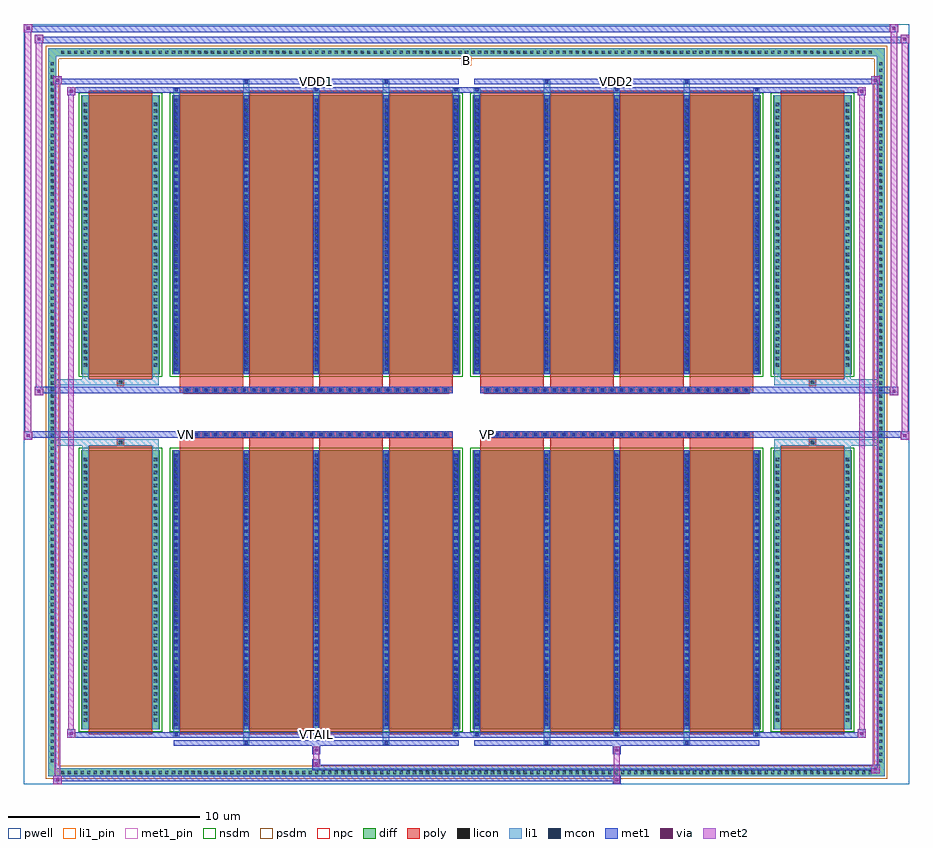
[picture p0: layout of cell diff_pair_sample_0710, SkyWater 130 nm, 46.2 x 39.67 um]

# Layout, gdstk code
import gdstk
lib = gdstk.Library(unit=1e-6, precision=5e-09)
def R(c, l, rs):  # rectangles x0, y0, x1, y1
    for r in rs: c.add(gdstk.rectangle(r[:2], r[2:], *l))
def A(c, l, x, y, w, h, nx, ny, dx, dy):  # array of equal rectangles
    R(c, l, [(x+i*dx, y+j*dy, x+i*dx+w, y+j*dy+h) for i in range(nx) for j in range(ny)])
def P(c, l, *ps):  # polygons
    for p in ps: c.add(gdstk.Polygon(p, *l))
pwell = (64, 44)
diff = (65, 20)
poly = (66, 20)
licon = (66, 44)
li1_pin = (67, 16)
li1 = (67, 20)
mcon = (67, 44)
met1_pin = (68, 16)
met1 = (68, 20)
via = (68, 44)
met2 = (69, 20)
nsdm = (93, 44)
psdm = (94, 20)
npc = (95, 20)

diff_pair_sample_0710 = lib.new_cell('diff_pair_sample_0710')
R(diff_pair_sample_0710, pwell, [(-23.1,-19.4,23.1,20.27), (-20.42,-17.59,-0.01,-0.795), (0.01,-17.59,20.42,-0.795), (-20.42,0.795,-0.01,17.59), (0.01,0.795,20.42,17.59)])
A(diff_pair_sample_0710, diff, -21.285, -19, 0.41, 0.41, 125, 2, 0.34, 37.59)
A(diff_pair_sample_0710, diff, -21.83, -18.395, 0.41, 0.41, 1, 108, 0, 0.34)
A(diff_pair_sample_0710, diff, 21.42, -18.395, 0.41, 0.41, 1, 108, 0, 0.34)
R(diff_pair_sample_0710, diff, [(-21.285,-19,21.285,-18.59), (-21.83,-18.395,-21.42,18.395), (21.42,-18.395,21.83,18.395), (-20.11,-16.545,-16.01,-1.985), (-15.37,-16.545,-0.32,-1.985), (0.32,-16.545,15.37,-1.985), (16.01,-16.545,20.11,-1.985), (-20.11,1.985,-16.01,16.545), (-15.37,1.985,-0.32,16.545), (0.32,1.985,15.37,16.545), (16.01,1.985,20.11,16.545), (-21.285,18.59,21.285,19)])
P(diff_pair_sample_0710, diff, [(21.83,19),(-21.83,19),(-21.83,-18.59),(-21.42,-18.59),(-21.42,18.59),(21.42,18.59),(21.42,-18.59),(-21.42,-18.59),(-21.83,-18.59),(-21.83,-19),(21.83,-19)])
A(diff_pair_sample_0710, poly, -14.98, -16.795, 3.32, 15.06, 4, 2, 3.65, 18.53)
A(diff_pair_sample_0710, poly, 0.71, -16.795, 3.32, 15.06, 4, 2, 3.65, 18.53)
A(diff_pair_sample_0710, poly, -14.98, -1.735, 3.32, 0.41, 4, 2, 3.65, 3.06)
A(diff_pair_sample_0710, poly, 0.71, -1.735, 3.32, 0.41, 4, 2, 3.65, 3.06)
A(diff_pair_sample_0710, poly, -14.76, -1.325, 0.33, 0.33, 28, 2, 0.5, 2.32)
A(diff_pair_sample_0710, poly, 0.93, -1.325, 0.33, 0.33, 28, 2, 0.5, 2.32)
R(diff_pair_sample_0710, poly, [(-19.72,-16.795,-16.4,-1.735), (16.4,-16.795,19.72,-1.735), (-18.225,-1.735,-17.895,-1.405), (-18.225,-1.735,-17.895,-1.405), (17.895,-1.735,18.225,-1.405), (17.895,-1.735,18.225,-1.405), (-14.98,-1.325,-0.71,-0.995), (0.71,-1.325,14.98,-0.995), (-14.98,0.995,-0.71,1.325), (0.71,0.995,14.98,1.325), (-18.225,1.405,-17.895,1.735), (-18.225,1.405,-17.895,1.735), (17.895,1.405,18.225,1.735), (17.895,1.405,18.225,1.735), (-19.72,1.735,-16.4,16.795), (16.4,1.735,19.72,16.795)])
A(diff_pair_sample_0710, licon, -21.165, -18.88, 0.17, 0.17, 125, 2, 0.34, 37.59)
A(diff_pair_sample_0710, licon, -21.71, -18.275, 0.17, 0.17, 1, 108, 0, 0.34)
A(diff_pair_sample_0710, licon, 21.54, -18.275, 0.17, 0.17, 1, 108, 0, 0.34)
A(diff_pair_sample_0710, licon, -19.97, -16.15, 0.17, 0.17, 1, 41, 0, 0.34)
A(diff_pair_sample_0710, licon, -16.32, -16.15, 0.17, 0.17, 1, 41, 0, 0.34)
A(diff_pair_sample_0710, licon, -15.23, -16.15, 0.17, 0.17, 5, 41, 3.65, 0.34)
A(diff_pair_sample_0710, licon, 0.46, -16.15, 0.17, 0.17, 5, 41, 3.65, 0.34)
A(diff_pair_sample_0710, licon, 16.15, -16.15, 0.17, 0.17, 1, 41, 0, 0.34)
A(diff_pair_sample_0710, licon, 19.8, -16.15, 0.17, 0.17, 1, 41, 0, 0.34)
A(diff_pair_sample_0710, licon, -14.68, -1.245, 0.17, 0.17, 28, 2, 0.5, 2.32)
A(diff_pair_sample_0710, licon, 1.01, -1.245, 0.17, 0.17, 28, 2, 0.5, 2.32)
A(diff_pair_sample_0710, licon, -19.97, 2.38, 0.17, 0.17, 1, 41, 0, 0.34)
A(diff_pair_sample_0710, licon, -16.32, 2.38, 0.17, 0.17, 1, 41, 0, 0.34)
A(diff_pair_sample_0710, licon, -15.23, 2.38, 0.17, 0.17, 5, 41, 3.65, 0.34)
A(diff_pair_sample_0710, licon, 0.46, 2.38, 0.17, 0.17, 5, 41, 3.65, 0.34)
A(diff_pair_sample_0710, licon, 16.15, 2.38, 0.17, 0.17, 1, 41, 0, 0.34)
A(diff_pair_sample_0710, licon, 19.8, 2.38, 0.17, 0.17, 1, 41, 0, 0.34)
R(diff_pair_sample_0710, licon, [(-18.145,-1.655,-17.975,-1.485), (17.975,-1.655,18.145,-1.485), (-18.145,1.485,-17.975,1.655), (17.975,1.485,18.145,1.655)])
R(diff_pair_sample_0710, li1_pin, [(-0.25,18.09,0.25,18.59)])
A(diff_pair_sample_0710, li1, -21.245, -18.96, 0.33, 0.33, 125, 2, 0.34, 37.59)
A(diff_pair_sample_0710, li1, -21.79, -18.355, 0.33, 0.33, 1, 108, 0, 0.34)
A(diff_pair_sample_0710, li1, 21.46, -18.355, 0.33, 0.33, 1, 108, 0, 0.34)
A(diff_pair_sample_0710, li1, -15.31, -16.92, 0.33, 0.375, 3, 2, 7.3, 33.465)
A(diff_pair_sample_0710, li1, -15.23, -16.92, 0.17, 0.17, 3, 2, 7.3, 33.67)
A(diff_pair_sample_0710, li1, 0.38, -16.92, 0.33, 0.375, 3, 2, 7.3, 33.465)
A(diff_pair_sample_0710, li1, 0.46, -16.92, 0.17, 0.17, 3, 2, 7.3, 33.67)
A(diff_pair_sample_0710, li1, -15.31, -16.545, 0.33, 14.56, 5, 2, 3.65, 18.53)
A(diff_pair_sample_0710, li1, 0.38, -16.545, 0.33, 14.56, 5, 2, 3.65, 18.53)
A(diff_pair_sample_0710, li1, -15.23, -16.37, 0.17, 0.17, 5, 40, 3.65, 0.36)
A(diff_pair_sample_0710, li1, -15.23, -16.37, 0.17, 14.21, 5, 2, 3.65, 18.53)
A(diff_pair_sample_0710, li1, 0.46, -16.37, 0.17, 0.17, 5, 40, 3.65, 0.36)
A(diff_pair_sample_0710, li1, 0.46, -16.37, 0.17, 14.21, 5, 2, 3.65, 18.53)
A(diff_pair_sample_0710, li1, -20.05, -16.23, 0.33, 0.33, 1, 41, 0, 0.34)
A(diff_pair_sample_0710, li1, -16.4, -16.23, 0.33, 0.33, 1, 41, 0, 0.34)
A(diff_pair_sample_0710, li1, -15.31, -16.23, 0.33, 0.33, 5, 41, 3.65, 0.34)
A(diff_pair_sample_0710, li1, 0.38, -16.23, 0.33, 0.33, 5, 41, 3.65, 0.34)
A(diff_pair_sample_0710, li1, 16.07, -16.23, 0.33, 0.33, 1, 41, 0, 0.34)
A(diff_pair_sample_0710, li1, 19.72, -16.23, 0.33, 0.33, 1, 41, 0, 0.34)
A(diff_pair_sample_0710, li1, -14.76, -1.325, 0.33, 0.33, 28, 2, 0.5, 2.32)
A(diff_pair_sample_0710, li1, 0.93, -1.325, 0.33, 0.33, 28, 2, 0.5, 2.32)
A(diff_pair_sample_0710, li1, -15.23, 2.16, 0.17, 0.17, 5, 40, 3.65, 0.36)
A(diff_pair_sample_0710, li1, 0.46, 2.16, 0.17, 0.17, 5, 40, 3.65, 0.36)
A(diff_pair_sample_0710, li1, -20.05, 2.3, 0.33, 0.33, 1, 41, 0, 0.34)
A(diff_pair_sample_0710, li1, -16.4, 2.3, 0.33, 0.33, 1, 41, 0, 0.34)
A(diff_pair_sample_0710, li1, -15.31, 2.3, 0.33, 0.33, 5, 41, 3.65, 0.34)
A(diff_pair_sample_0710, li1, 0.38, 2.3, 0.33, 0.33, 5, 41, 3.65, 0.34)
A(diff_pair_sample_0710, li1, 16.07, 2.3, 0.33, 0.33, 1, 41, 0, 0.34)
A(diff_pair_sample_0710, li1, 19.72, 2.3, 0.33, 0.33, 1, 41, 0, 0.34)
R(diff_pair_sample_0710, li1, [(-21.83,-19,-21.42,-18.59), (-21.83,-19,-21.42,-18.59), (-21.42,-19,21.42,-18.59), (21.42,-19,21.83,-18.59), (21.42,-19,21.83,-18.59), (-21.83,-18.59,-21.42,18.59), (21.42,-18.59,21.83,18.59), (-11.66,-17.35,-11.33,-16.545), (-11.58,-17.35,-11.41,-17.18), (-4.36,-17.35,-4.03,-16.545), (-4.28,-17.35,-4.11,-17.18), (4.03,-17.35,4.36,-16.545), (4.11,-17.35,4.28,-17.18), (11.33,-17.35,11.66,-16.545), (11.41,-17.35,11.58,-17.18), (-20.05,-16.545,-19.72,-1.985), (-16.4,-16.545,-16.07,-1.985), (16.07,-16.545,16.4,-1.985), (19.72,-16.545,20.05,-1.985), (-20.05,-1.985,-19.72,-1.405), (-16.4,-1.985,-16.07,-1.405), (16.07,-1.985,16.4,-1.405), (19.72,-1.985,20.05,-1.405), (-21.83,-1.735,-18.225,-1.405), (-20.05,-1.735,-18.225,-1.405), (-18.225,-1.735,-17.895,-1.405), (-17.895,-1.735,-16.07,-1.405), (16.07,-1.735,17.895,-1.405), (17.895,-1.735,18.225,-1.405), (17.895,-1.735,21.83,-1.405), (18.225,-1.735,20.05,-1.405), (-21.83,1.405,-18.225,1.735), (-20.05,1.405,-18.225,1.735), (-20.05,1.405,-19.72,1.985), (-18.225,1.405,-17.895,1.735), (-17.895,1.405,-16.07,1.735), (-16.4,1.405,-16.07,1.985), (16.07,1.405,17.895,1.735), (16.07,1.405,16.4,1.985), (17.895,1.405,18.225,1.735), (17.895,1.405,21.83,1.735), (18.225,1.405,20.05,1.735), (19.72,1.405,20.05,1.985), (-20.05,1.985,-19.72,16.545), (-16.4,1.985,-16.07,16.545), (16.07,1.985,16.4,16.545), (19.72,1.985,20.05,16.545), (-11.66,16.545,-11.33,17.35), (-4.36,16.545,-4.03,17.35), (4.03,16.545,4.36,17.35), (11.33,16.545,11.66,17.35), (-11.58,17.18,-11.41,17.35), (-4.28,17.18,-4.11,17.35), (4.11,17.18,4.28,17.35), (11.41,17.18,11.58,17.35), (-21.83,18.59,-21.42,19), (-21.83,18.59,-21.42,19), (-21.42,18.59,21.42,19), (21.42,18.59,21.83,19), (21.42,18.59,21.83,19)])
A(diff_pair_sample_0710, mcon, -15.23, -16.92, 0.17, 0.17, 3, 2, 7.3, 33.67)
A(diff_pair_sample_0710, mcon, 0.46, -16.92, 0.17, 0.17, 3, 2, 7.3, 33.67)
A(diff_pair_sample_0710, mcon, -15.23, -16.37, 0.17, 0.17, 5, 40, 3.65, 0.36)
A(diff_pair_sample_0710, mcon, 0.46, -16.37, 0.17, 0.17, 5, 40, 3.65, 0.36)
A(diff_pair_sample_0710, mcon, -14.68, -1.245, 0.17, 0.17, 28, 2, 0.5, 2.32)
A(diff_pair_sample_0710, mcon, 1.01, -1.245, 0.17, 0.17, 28, 2, 0.5, 2.32)
A(diff_pair_sample_0710, mcon, -15.23, 2.16, 0.17, 0.17, 5, 40, 3.65, 0.36)
A(diff_pair_sample_0710, mcon, 0.46, 2.16, 0.17, 0.17, 5, 40, 3.65, 0.36)
R(diff_pair_sample_0710, mcon, [(-11.58,-17.35,-11.41,-17.18), (-4.28,-17.35,-4.11,-17.18), (4.11,-17.35,4.28,-17.18), (11.41,-17.35,11.58,-17.18), (-11.58,17.18,-11.41,17.35), (-4.28,17.18,-4.11,17.35), (4.11,17.18,4.28,17.35), (11.41,17.18,11.58,17.35)])
R(diff_pair_sample_0710, met1_pin, [(-7.98,-16.96,-7.71,-16.69), (-14.73,-1.285,-14.46,-1.015), (0.96,-1.285,1.23,-1.015), (-7.98,17.14,-7.71,17.41), (7.71,17.14,7.98,17.41)])
A(diff_pair_sample_0710, met1, -15.29, -16.98, 0.29, 0.29, 3, 2, 7.3, 33.67)
A(diff_pair_sample_0710, met1, 0.4, -16.98, 0.29, 0.29, 3, 2, 7.3, 33.67)
A(diff_pair_sample_0710, met1, -15.29, -16.545, 0.29, 14.56, 5, 2, 3.65, 18.53)
A(diff_pair_sample_0710, met1, 0.4, -16.545, 0.29, 14.56, 5, 2, 3.65, 18.53)
A(diff_pair_sample_0710, met1, -15.29, -16.43, 0.29, 0.29, 5, 40, 3.65, 0.36)
A(diff_pair_sample_0710, met1, 0.4, -16.43, 0.29, 0.29, 5, 40, 3.65, 0.36)
A(diff_pair_sample_0710, met1, -14.74, -1.305, 0.29, 0.29, 28, 2, 0.5, 2.32)
A(diff_pair_sample_0710, met1, 0.95, -1.305, 0.29, 0.29, 28, 2, 0.5, 2.32)
A(diff_pair_sample_0710, met1, -15.29, 2.1, 0.29, 0.29, 5, 40, 3.65, 0.36)
A(diff_pair_sample_0710, met1, 0.4, 2.1, 0.29, 0.29, 5, 40, 3.65, 0.36)
R(diff_pair_sample_0710, met1, [(-21.56,-19.4,-21.13,-18.97), (7.63,-19.4,8.06,-18.97), (-21.56,-19.26,8.06,-18.97), (21.13,-18.83,21.56,-18.4), (-8.06,-18.69,21.56,-18.4), (-8.06,-18.55,-7.63,-18.12), (-8.06,-17.84,-7.63,-17.41), (7.63,-17.84,8.06,-17.41), (-15.29,-17.41,-0.4,-17.12), (-11.64,-17.41,-11.35,-17.12), (-4.34,-17.41,-4.05,-17.12), (0.4,-17.41,15.29,-17.12), (4.05,-17.41,4.34,-17.12), (11.35,-17.41,11.64,-17.12), (-20.85,-16.98,-20.42,-16.55), (-20.85,-16.98,-15.29,-16.69), (-15.29,-16.98,-0.4,-16.69), (-0.4,-16.98,0.4,-16.69), (0.4,-16.98,15.29,-16.69), (15.29,-16.98,20.85,-16.69), (20.42,-16.98,20.85,-16.55), (-23.1,-1.425,-22.67,-0.995), (22.67,-1.425,23.1,-0.995), (-23.1,-1.325,-0.71,-0.995), (-14.98,-1.325,-0.71,-0.995), (0.71,-1.325,14.98,-0.995), (0.71,-1.325,23.1,-0.995), (-22.53,0.895,-22.1,1.325), (22.1,0.895,22.53,1.325), (-22.53,0.995,-14.98,1.325), (-14.98,0.995,-0.71,1.325), (0.71,0.995,14.98,1.325), (14.98,0.995,22.53,1.325), (-20.85,16.55,-20.42,16.98), (20.42,16.55,20.85,16.98), (-20.85,16.69,-15.29,16.98), (-15.29,16.69,-0.4,16.98), (-0.4,16.69,0.4,16.98), (0.4,16.69,15.29,16.98), (15.29,16.69,20.85,16.98), (-21.56,17.12,-21.13,17.55), (-21.56,17.12,-15.29,17.41), (-15.29,17.12,-0.4,17.41), (-11.64,17.12,-11.35,17.41), (-4.34,17.12,-4.05,17.41), (0.4,17.12,15.29,17.41), (4.05,17.12,4.34,17.41), (11.35,17.12,11.64,17.41), (15.29,17.12,21.56,17.41), (21.13,17.12,21.56,17.55), (-22.53,19.27,-22.1,19.7), (-22.53,19.27,-20.42,19.6), (-20.42,19.27,20.42,19.6), (20.42,19.27,23.1,19.6), (22.67,19.27,23.1,19.7), (-23.1,19.84,-22.67,20.27), (-23.1,19.84,-20.42,20.17), (-20.42,19.84,20.42,20.17), (20.42,19.84,22.53,20.17), (22.1,19.84,22.53,20.27)])
R(diff_pair_sample_0710, via, [(-21.42,-19.26,-21.27,-19.11), (7.77,-19.26,7.92,-19.11), (21.27,-18.69,21.42,-18.54), (-7.92,-18.41,-7.77,-18.26), (-7.92,-17.7,-7.77,-17.55), (7.77,-17.7,7.92,-17.55), (-20.71,-16.84,-20.56,-16.69), (20.56,-16.84,20.71,-16.69), (-22.96,-1.285,-22.81,-1.135), (22.81,-1.285,22.96,-1.135), (-22.39,1.035,-22.24,1.185), (22.24,1.035,22.39,1.185), (-20.71,16.69,-20.56,16.84), (20.56,16.69,20.71,16.84), (-21.42,17.26,-21.27,17.41), (21.27,17.26,21.42,17.41), (-22.39,19.41,-22.24,19.56), (22.81,19.41,22.96,19.56), (-22.96,19.98,-22.81,20.13), (22.24,19.98,22.39,20.13)])
R(diff_pair_sample_0710, met2, [(-21.56,-19.4,-21.13,-18.97), (-21.49,-19.4,-21.2,17.55), (-21.2,-19.4,-21.13,-18.97), (-21.51,-19.35,-21.18,-19.02), (7.68,-19.35,8.01,-19.02), (7.68,-19.02,8.01,-17.79), (21.13,-18.83,21.56,-18.4), (21.2,-18.83,21.49,17.55), (21.49,-18.83,21.56,-18.4), (21.18,-18.78,21.51,-18.45), (-8.01,-18.5,-7.68,-18.17), (-8.01,-18.17,-7.68,-17.79), (-8.01,-17.79,-7.68,-17.46), (7.68,-17.79,8.01,-17.46), (-20.85,-16.98,-20.42,-16.55), (-20.78,-16.98,-20.49,16.98), (-20.49,-16.98,-20.42,-16.55), (20.42,-16.98,20.85,-16.55), (20.49,-16.98,20.78,16.98), (20.78,-16.98,20.85,-16.55), (-20.8,-16.93,-20.47,-16.6), (20.47,-16.93,20.8,-16.6), (-23.1,-1.425,-22.67,-0.995), (-23.05,-1.425,-22.72,20.27), (-22.72,-1.425,-22.67,-0.995), (22.67,-1.425,23.1,-0.995), (22.72,-1.425,23.05,19.7), (23.05,-1.425,23.1,-0.995), (-23.05,-1.375,-22.72,-1.045), (22.72,-1.375,23.05,-1.045), (-22.53,0.895,-22.1,1.325), (-22.48,0.895,-22.15,19.7), (-22.15,0.895,-22.1,1.325), (22.1,0.895,22.53,1.325), (22.15,0.895,22.48,20.27), (22.48,0.895,22.53,1.325), (-22.48,0.945,-22.15,1.275), (22.15,0.945,22.48,1.275), (-20.85,16.55,-20.42,16.98), (-20.49,16.55,-20.42,16.98), (20.42,16.55,20.85,16.98), (20.78,16.55,20.85,16.98), (-20.8,16.6,-20.47,16.93), (20.47,16.6,20.8,16.93), (-21.56,17.12,-21.13,17.55), (-21.2,17.12,-21.13,17.55), (21.13,17.12,21.56,17.55), (21.49,17.12,21.56,17.55), (-21.51,17.17,-21.18,17.5), (21.18,17.17,21.51,17.5), (-22.53,19.27,-22.1,19.7), (-22.15,19.27,-22.1,19.7), (22.67,19.27,23.1,19.7), (23.05,19.27,23.1,19.7), (-22.48,19.32,-22.15,19.65), (22.72,19.32,23.05,19.65), (-23.1,19.84,-22.67,20.27), (-22.72,19.84,-22.67,20.27), (22.1,19.84,22.53,20.27), (22.48,19.84,22.53,20.27), (-23.05,19.89,-22.72,20.22), (22.15,19.89,22.48,20.22)])
R(diff_pair_sample_0710, nsdm, [(-20.24,-16.675,-15.88,-1.855), (-15.5,-16.675,-0.19,-1.855), (0.19,-16.675,15.5,-1.855), (15.88,-16.675,20.24,-1.855), (-20.24,1.855,-15.88,16.675), (-15.5,1.855,-0.19,16.675), (0.19,1.855,15.5,16.675), (15.88,1.855,20.24,16.675)])
P(diff_pair_sample_0710, psdm, [(21.96,19.13),(-21.96,19.13),(-21.96,-18.46),(-21.29,-18.46),(-21.29,18.46),(21.29,18.46),(21.29,-18.46),(-21.29,-18.46),(-21.96,-18.46),(-21.96,-19.13),(21.96,-19.13)])
A(diff_pair_sample_0710, npc, -14.78, -1.345, 0.37, 0.37, 28, 2, 0.5, 2.32)
A(diff_pair_sample_0710, npc, 0.91, -1.345, 0.37, 0.37, 28, 2, 0.5, 2.32)
R(diff_pair_sample_0710, npc, [(-18.245,-1.755,-17.875,-1.385), (17.875,-1.755,18.245,-1.385), (-14.78,-1.345,-13.91,-0.975), (-14.78,-1.345,-13.91,-0.975), (-14.28,-1.345,-13.41,-0.975), (-14.28,-1.345,-13.41,-0.975), (-13.78,-1.345,-12.91,-0.975), (-13.78,-1.345,-12.91,-0.975), (-13.28,-1.345,-12.41,-0.975), (-13.28,-1.345,-12.41,-0.975), (-12.78,-1.345,-11.91,-0.975), (-12.78,-1.345,-11.91,-0.975), (-12.28,-1.345,-11.41,-0.975), (-12.28,-1.345,-11.41,-0.975), (-11.78,-1.345,-10.91,-0.975), (-11.78,-1.345,-10.91,-0.975), (-11.28,-1.345,-10.41,-0.975), (-11.28,-1.345,-10.41,-0.975), (-10.78,-1.345,-9.91,-0.975), (-10.78,-1.345,-9.91,-0.975), (-10.28,-1.345,-9.41,-0.975), (-10.28,-1.345,-9.41,-0.975), (-9.78,-1.345,-8.91,-0.975), (-9.78,-1.345,-8.91,-0.975), (-9.28,-1.345,-8.41,-0.975), (-9.28,-1.345,-8.41,-0.975), (-8.78,-1.345,-7.91,-0.975), (-8.78,-1.345,-7.91,-0.975), (-8.28,-1.345,-7.41,-0.975), (-8.28,-1.345,-7.41,-0.975), (-7.78,-1.345,-6.91,-0.975), (-7.78,-1.345,-6.91,-0.975), (-7.28,-1.345,-6.41,-0.975), (-7.28,-1.345,-6.41,-0.975), (-6.78,-1.345,-5.91,-0.975), (-6.78,-1.345,-5.91,-0.975), (-6.28,-1.345,-5.41,-0.975), (-6.28,-1.345,-5.41,-0.975), (-5.78,-1.345,-4.91,-0.975), (-5.78,-1.345,-4.91,-0.975), (-5.28,-1.345,-4.41,-0.975), (-5.28,-1.345,-4.41,-0.975), (-4.78,-1.345,-3.91,-0.975), (-4.78,-1.345,-3.91,-0.975), (-4.28,-1.345,-3.41,-0.975), (-4.28,-1.345,-3.41,-0.975), (-3.78,-1.345,-2.91,-0.975), (-3.78,-1.345,-2.91,-0.975), (-3.28,-1.345,-2.41,-0.975), (-3.28,-1.345,-2.41,-0.975), (-2.78,-1.345,-1.91,-0.975), (-2.78,-1.345,-1.91,-0.975), (-2.28,-1.345,-1.41,-0.975), (-2.28,-1.345,-1.41,-0.975), (-1.78,-1.345,-0.91,-0.975), (-1.78,-1.345,-0.91,-0.975), (0.91,-1.345,1.78,-0.975), (0.91,-1.345,1.78,-0.975), (1.41,-1.345,2.28,-0.975), (1.41,-1.345,2.28,-0.975), (1.91,-1.345,2.78,-0.975), (1.91,-1.345,2.78,-0.975), (2.41,-1.345,3.28,-0.975), (2.41,-1.345,3.28,-0.975), (2.91,-1.345,3.78,-0.975), (2.91,-1.345,3.78,-0.975), (3.41,-1.345,4.28,-0.975), (3.41,-1.345,4.28,-0.975), (3.91,-1.345,4.78,-0.975), (3.91,-1.345,4.78,-0.975), (4.41,-1.345,5.28,-0.975), (4.41,-1.345,5.28,-0.975), (4.91,-1.345,5.78,-0.975), (4.91,-1.345,5.78,-0.975), (5.41,-1.345,6.28,-0.975), (5.41,-1.345,6.28,-0.975), (5.91,-1.345,6.78,-0.975), (5.91,-1.345,6.78,-0.975), (6.41,-1.345,7.28,-0.975), (6.41,-1.345,7.28,-0.975), (6.91,-1.345,7.78,-0.975), (6.91,-1.345,7.78,-0.975), (7.41,-1.345,8.28,-0.975), (7.41,-1.345,8.28,-0.975), (7.91,-1.345,8.78,-0.975), (7.91,-1.345,8.78,-0.975), (8.41,-1.345,9.28,-0.975), (8.41,-1.345,9.28,-0.975), (8.91,-1.345,9.78,-0.975), (8.91,-1.345,9.78,-0.975), (9.41,-1.345,10.28,-0.975), (9.41,-1.345,10.28,-0.975), (9.91,-1.345,10.78,-0.975), (9.91,-1.345,10.78,-0.975), (10.41,-1.345,11.28,-0.975), (10.41,-1.345,11.28,-0.975), (10.91,-1.345,11.78,-0.975), (10.91,-1.345,11.78,-0.975), (11.41,-1.345,12.28,-0.975), (11.41,-1.345,12.28,-0.975), (11.91,-1.345,12.78,-0.975), (11.91,-1.345,12.78,-0.975), (12.41,-1.345,13.28,-0.975), (12.41,-1.345,13.28,-0.975), (12.91,-1.345,13.78,-0.975), (12.91,-1.345,13.78,-0.975), (13.41,-1.345,14.28,-0.975), (13.41,-1.345,14.28,-0.975), (13.91,-1.345,14.78,-0.975), (13.91,-1.345,14.78,-0.975), (-14.78,0.975,-13.91,1.345), (-14.78,0.975,-13.91,1.345), (-14.28,0.975,-13.41,1.345), (-14.28,0.975,-13.41,1.345), (-13.78,0.975,-12.91,1.345), (-13.78,0.975,-12.91,1.345), (-13.28,0.975,-12.41,1.345), (-13.28,0.975,-12.41,1.345), (-12.78,0.975,-11.91,1.345), (-12.78,0.975,-11.91,1.345), (-12.28,0.975,-11.41,1.345), (-12.28,0.975,-11.41,1.345), (-11.78,0.975,-10.91,1.345), (-11.78,0.975,-10.91,1.345), (-11.28,0.975,-10.41,1.345), (-11.28,0.975,-10.41,1.345), (-10.78,0.975,-9.91,1.345), (-10.78,0.975,-9.91,1.345), (-10.28,0.975,-9.41,1.345), (-10.28,0.975,-9.41,1.345), (-9.78,0.975,-8.91,1.345), (-9.78,0.975,-8.91,1.345), (-9.28,0.975,-8.41,1.345), (-9.28,0.975,-8.41,1.345), (-8.78,0.975,-7.91,1.345), (-8.78,0.975,-7.91,1.345), (-8.28,0.975,-7.41,1.345), (-8.28,0.975,-7.41,1.345), (-7.78,0.975,-6.91,1.345), (-7.78,0.975,-6.91,1.345), (-7.28,0.975,-6.41,1.345), (-7.28,0.975,-6.41,1.345), (-6.78,0.975,-5.91,1.345), (-6.78,0.975,-5.91,1.345), (-6.28,0.975,-5.41,1.345), (-6.28,0.975,-5.41,1.345), (-5.78,0.975,-4.91,1.345), (-5.78,0.975,-4.91,1.345), (-5.28,0.975,-4.41,1.345), (-5.28,0.975,-4.41,1.345), (-4.78,0.975,-3.91,1.345), (-4.78,0.975,-3.91,1.345), (-4.28,0.975,-3.41,1.345), (-4.28,0.975,-3.41,1.345), (-3.78,0.975,-2.91,1.345), (-3.78,0.975,-2.91,1.345), (-3.28,0.975,-2.41,1.345), (-3.28,0.975,-2.41,1.345), (-2.78,0.975,-1.91,1.345), (-2.78,0.975,-1.91,1.345), (-2.28,0.975,-1.41,1.345), (-2.28,0.975,-1.41,1.345), (-1.78,0.975,-0.91,1.345), (-1.78,0.975,-0.91,1.345), (0.91,0.975,1.78,1.345), (0.91,0.975,1.78,1.345), (1.41,0.975,2.28,1.345), (1.41,0.975,2.28,1.345), (1.91,0.975,2.78,1.345), (1.91,0.975,2.78,1.345), (2.41,0.975,3.28,1.345), (2.41,0.975,3.28,1.345), (2.91,0.975,3.78,1.345), (2.91,0.975,3.78,1.345), (3.41,0.975,4.28,1.345), (3.41,0.975,4.28,1.345), (3.91,0.975,4.78,1.345), (3.91,0.975,4.78,1.345), (4.41,0.975,5.28,1.345), (4.41,0.975,5.28,1.345), (4.91,0.975,5.78,1.345), (4.91,0.975,5.78,1.345), (5.41,0.975,6.28,1.345), (5.41,0.975,6.28,1.345), (5.91,0.975,6.78,1.345), (5.91,0.975,6.78,1.345), (6.41,0.975,7.28,1.345), (6.41,0.975,7.28,1.345), (6.91,0.975,7.78,1.345), (6.91,0.975,7.78,1.345), (7.41,0.975,8.28,1.345), (7.41,0.975,8.28,1.345), (7.91,0.975,8.78,1.345), (7.91,0.975,8.78,1.345), (8.41,0.975,9.28,1.345), (8.41,0.975,9.28,1.345), (8.91,0.975,9.78,1.345), (8.91,0.975,9.78,1.345), (9.41,0.975,10.28,1.345), (9.41,0.975,10.28,1.345), (9.91,0.975,10.78,1.345), (9.91,0.975,10.78,1.345), (10.41,0.975,11.28,1.345), (10.41,0.975,11.28,1.345), (10.91,0.975,11.78,1.345), (10.91,0.975,11.78,1.345), (11.41,0.975,12.28,1.345), (11.41,0.975,12.28,1.345), (11.91,0.975,12.78,1.345), (11.91,0.975,12.78,1.345), (12.41,0.975,13.28,1.345), (12.41,0.975,13.28,1.345), (12.91,0.975,13.78,1.345), (12.91,0.975,13.78,1.345), (13.41,0.975,14.28,1.345), (13.41,0.975,14.28,1.345), (13.91,0.975,14.78,1.345), (13.91,0.975,14.78,1.345), (-18.245,1.385,-17.875,1.755), (17.875,1.385,18.245,1.755)])
diff_pair_sample_0710.add(gdstk.Label('VTAIL', (-7.845,-16.825), layer=68, texttype=5))
diff_pair_sample_0710.add(gdstk.Label('VN', (-14.595,-1.15), layer=68, texttype=5))
diff_pair_sample_0710.add(gdstk.Label('VP', (1.095,-1.15), layer=68, texttype=5))
diff_pair_sample_0710.add(gdstk.Label('B', (0,18.34), layer=67, texttype=5))
diff_pair_sample_0710.add(gdstk.Label('VDD2', (7.845,17.275), layer=68, texttype=5))
diff_pair_sample_0710.add(gdstk.Label('VDD1', (-7.845,17.275), layer=68, texttype=5))

lib.write_gds('diff_pair_sample_0710.gds')
